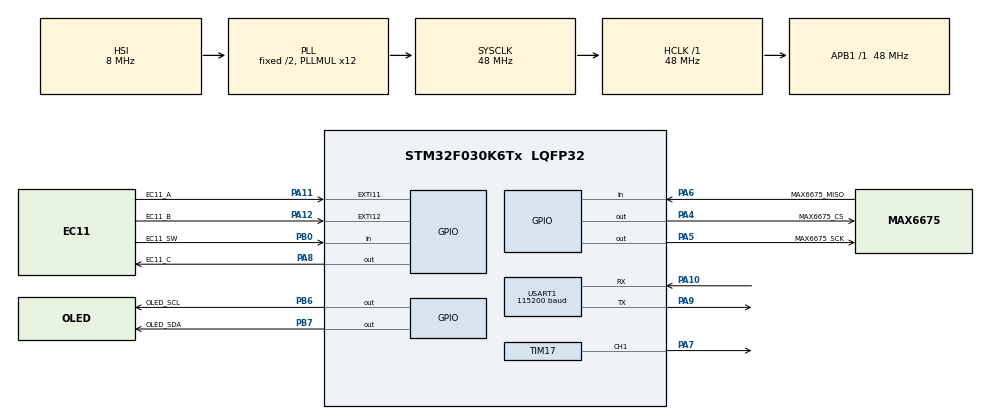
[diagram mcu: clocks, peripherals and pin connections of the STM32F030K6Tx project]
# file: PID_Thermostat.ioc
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Mcu.Family=STM32F0
Mcu.Name=STM32F030K6Tx
Mcu.Package=LQFP32
NVIC.EXTI4_15_IRQn=true\:0\:0\:false\:false\:true\:true\:true\:true
NVIC.TIM3_IRQn=true\:0\:0\:false\:false\:true\:true\:true\:true
PA10.Mode=Asynchronous
PA10.Signal=USART1_RX
PA11.GPIO_Label=EC11_A
PA11.GPIO_ModeDefaultEXTI=GPIO_MODE_IT_RISING_FALLING
PA11.Signal=GPXTI11
PA12.GPIO_Label=EC11_B
PA12.GPIO_ModeDefaultEXTI=GPIO_MODE_IT_RISING_FALLING
PA12.Signal=GPXTI12
PA13.Mode=Serial_Wire
PA13.Signal=SYS_SWDIO
PA14.Mode=Serial_Wire
PA14.Signal=SYS_SWCLK
PA4.GPIO_Label=MAX6675_CS
PA4.GPIO_Speed=GPIO_SPEED_FREQ_HIGH
PA4.PinState=GPIO_PIN_SET
PA4.Signal=GPIO_Output
PA5.GPIO_Label=MAX6675_SCK
PA5.GPIO_Speed=GPIO_SPEED_FREQ_HIGH
PA5.PinState=GPIO_PIN_SET
PA5.Signal=GPIO_Output
PA6.GPIO_Label=MAX6675_MISO
PA6.Signal=GPIO_Input
PA7.Signal=S_TIM17_CH1
PA8.GPIO_Label=EC11_C
PA8.GPIO_ModeDefaultOutputPP=GPIO_MODE_OUTPUT_OD
PA8.GPIO_PuPd=GPIO_NOPULL
PA8.Signal=GPIO_Output
PA9.Mode=Asynchronous
PA9.Signal=USART1_TX
PB0.GPIO_Label=EC11_SW
PB0.GPIO_PuPd=GPIO_PULLUP
PB0.Signal=GPIO_Input
PB6.GPIO_Label=OLED_SCL
PB6.GPIO_ModeDefaultOutputPP=GPIO_MODE_OUTPUT_OD
PB6.GPIO_PuPd=GPIO_NOPULL
PB6.GPIO_Speed=GPIO_SPEED_FREQ_HIGH
PB6.PinState=GPIO_PIN_SET
PB6.Signal=GPIO_Output
PB7.GPIO_FM7=__NULL
PB7.GPIO_Label=OLED_SDA
PB7.GPIO_ModeDefaultOutputPP=GPIO_MODE_OUTPUT_OD
PB7.GPIO_PuPd=GPIO_NOPULL
PB7.GPIO_Speed=GPIO_SPEED_FREQ_HIGH
PB7.PinState=GPIO_PIN_SET
PB7.Signal=GPIO_Output
ProjectManager.HeapSize=0x200
ProjectManager.StackSize=0x400
ProjectManager.TargetToolchain=MDK-ARM V5.32
RCC.AHBFreq_Value=48000000
RCC.APB1Freq_Value=48000000
RCC.APB1TimFreq_Value=48000000
RCC.HCLKFreq_Value=48000000
RCC.PLLMUL=RCC_PLL_MUL12
RCC.SYSCLKFreq_VALUE=48000000
RCC.SYSCLKSource=RCC_SYSCLKSOURCE_PLLCLK
SH.S_TIM17_CH1.0=TIM17_CH1,PWM Generation1 CH1
TIM17.Channel=TIM_CHANNEL_1
TIM3.Period=47999
USART1.BaudRate=115200
USART1.VirtualMode-Asynchronous=VM_ASYNC
VP_TIM14_VS_ClockSourceINT.Mode=Enable_Timer
VP_TIM17_VS_ClockSourceINT.Mode=Enable_Timer
VP_TIM3_VS_ClockSourceINT.Mode=Internal
board=custom

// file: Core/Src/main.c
/* USER CODE BEGIN Header */
/**
  ******************************************************************************
  * @file           : main.c
  * @brief          : Main program body
  ******************************************************************************
  * @attention
  *
  * Copyright (c) 2026 STMicroelectronics.
  * All rights reserved.
  *
  * This software is licensed under terms that can be found in the LICENSE file
  * in the root directory of this software component.
  * If no LICENSE file comes with this software, it is provided AS-IS.
  *
  ******************************************************************************
  */
/* USER CODE END Header */
#include "main.h"
#include "tim.h"
#include "usart.h"
#include "gpio.h"

/* USER CODE BEGIN Includes */

#include <stdio.h>

#include "temp_reader.h"
#include "encoder.h"
#include "soft_i2c.h"
#include "oled_display.h"
#include "pid_control.h"
#include "heater_ctrl.h"

/* USER CODE END Includes */

/* USER CODE BEGIN PV */
static pid_t heater_pid;
static float target_temp = 30.0f;
/* USER CODE END PV */

void SystemClock_Config(void);

/* USER CODE BEGIN 0 */

int fputc(int ch, FILE *f)
{
    HAL_UART_Transmit(&huart1, (uint8_t *)&ch, 1, HAL_MAX_DELAY);
    return ch;
}

/* USER CODE END 0 */

int main(void)
{

  /* MCU Configuration--------------------------------------------------------*/

  /* Reset of all peripherals, Initializes the Flash interface and the Systick. */
  HAL_Init();

  /* Configure the system clock */
  SystemClock_Config();

  /* Initialize all configured peripherals */
  MX_GPIO_Init();
  MX_USART1_UART_Init();
  MX_TIM3_Init();
  MX_TIM14_Init();
  MX_TIM17_Init();
  /* USER CODE BEGIN 2 */

  enc_init();
  HAL_TIM_Base_Start_IT(&htim3);
  HAL_TIM_PWM_Start(&htim17, TIM_CHANNEL_1);

  printf("Hello PID Thermostat!\r\n");
  temp_init();

	i2c_init();
	oled_init();
	oled_clear();
	oled_show_string(0, 0, "Temp:");
	oled_show_string(96, 0, "C");

	oled_show_string(0, 1, "Targ:");
	oled_show_string(96, 1, "C");

  heater_init();

  pid_init(&heater_pid, 80.0f, 15.0f, 10.0f, HEATER_MAX_DUTY);
  pid_setpoint(&heater_pid, target_temp);
  /* USER CODE END 2 */

  /* Infinite loop */
  while (1)
  {

    /* USER CODE BEGIN 3 */
	float cur_temp;
	uint8_t tc_ok;
	temp_read_all(&cur_temp, &tc_ok);

	int16_t delta = enc_get_delta();
	if (delta != 0)
	{
		target_temp += (float)delta * 0.25f;

		if (target_temp < 0.0f)   target_temp = 0.0f;
		if (target_temp > 120.0f) target_temp = 120.0f;

		pid_setpoint(&heater_pid, target_temp);
		printf("Target: %.1f C\r\n", target_temp);
	}

	if (enc_button_pressed())
	{
		printf("BTN SHORT PRESS\r\n");
	}
	if (enc_button_long_press())
	{
		printf("BTN LONG PRESS\r\n");
	}

	if (heater_is_safe(cur_temp, tc_ok))
	{
		int32_t duty = pid_compute(&heater_pid, cur_temp);
		heater_set_duty((uint16_t)duty);
		printf("PID OUT: %d / 65535\r\n", (int)duty);
	}
	else
	{
		heater_off();
		pid_reset(&heater_pid);
		printf("HEATER OFF (TC:%s Temp:%.1f)\r\n",
			   tc_ok ? "OK" : "OPEN!", cur_temp);
	}

	printf("Temp: %.1f C | Target: %.1f C | TC: %s\r\n",
		   cur_temp, target_temp,
		   tc_ok ? "OK" : "OPEN!");

	oled_show_number(48, 0, cur_temp, 1);
	oled_show_number(48, 1, target_temp, 1);

	HAL_Delay(500);
  }
  /* USER CODE END 3 */
}

void SystemClock_Config(void)
{
  RCC_OscInitTypeDef RCC_OscInitStruct = {0};
  RCC_ClkInitTypeDef RCC_ClkInitStruct = {0};
  RCC_PeriphCLKInitTypeDef PeriphClkInit = {0};

  /** Initializes the RCC Oscillators according to the specified parameters
  * in the RCC_OscInitTypeDef structure.
  */
  RCC_OscInitStruct.OscillatorType = RCC_OSCILLATORTYPE_HSI;
  RCC_OscInitStruct.HSIState = RCC_HSI_ON;
  RCC_OscInitStruct.HSICalibrationValue = RCC_HSICALIBRATION_DEFAULT;
  RCC_OscInitStruct.PLL.PLLState = RCC_PLL_ON;
  RCC_OscInitStruct.PLL.PLLSource = RCC_PLLSOURCE_HSI;
  RCC_OscInitStruct.PLL.PLLMUL = RCC_PLL_MUL12;
  RCC_OscInitStruct.PLL.PREDIV = RCC_PREDIV_DIV1;
  if (HAL_RCC_OscConfig(&RCC_OscInitStruct) != HAL_OK)
  {
    Error_Handler();
  }

  /** Initializes the CPU, AHB and APB buses clocks
  */
  RCC_ClkInitStruct.ClockType = RCC_CLOCKTYPE_HCLK|RCC_CLOCKTYPE_SYSCLK
                              |RCC_CLOCKTYPE_PCLK1;
  RCC_ClkInitStruct.SYSCLKSource = RCC_SYSCLKSOURCE_PLLCLK;
  RCC_ClkInitStruct.AHBCLKDivider = RCC_SYSCLK_DIV1;
  RCC_ClkInitStruct.APB1CLKDivider = RCC_HCLK_DIV1;

  if (HAL_RCC_ClockConfig(&RCC_ClkInitStruct, FLASH_LATENCY_1) != HAL_OK)
  {
    Error_Handler();
  }
  PeriphClkInit.PeriphClockSelection = RCC_PERIPHCLK_USART1;
  PeriphClkInit.Usart1ClockSelection = RCC_USART1CLKSOURCE_PCLK1;
  if (HAL_RCCEx_PeriphCLKConfig(&PeriphClkInit) != HAL_OK)
  {
    Error_Handler();
  }
}

/* USER CODE BEGIN 4 */

void HAL_TIM_PeriodElapsedCallback(TIM_HandleTypeDef *htim)
{
    if (htim->Instance == TIM3)
    {
        enc_timer_tick();
    }
}

void HAL_GPIO_EXTI_Callback(uint16_t GPIO_Pin)
{
    enc_exti_callback(GPIO_Pin);
}

/* USER CODE END 4 */

void Error_Handler(void)
{
  __disable_irq();
  while (1)
  {
  }
}
